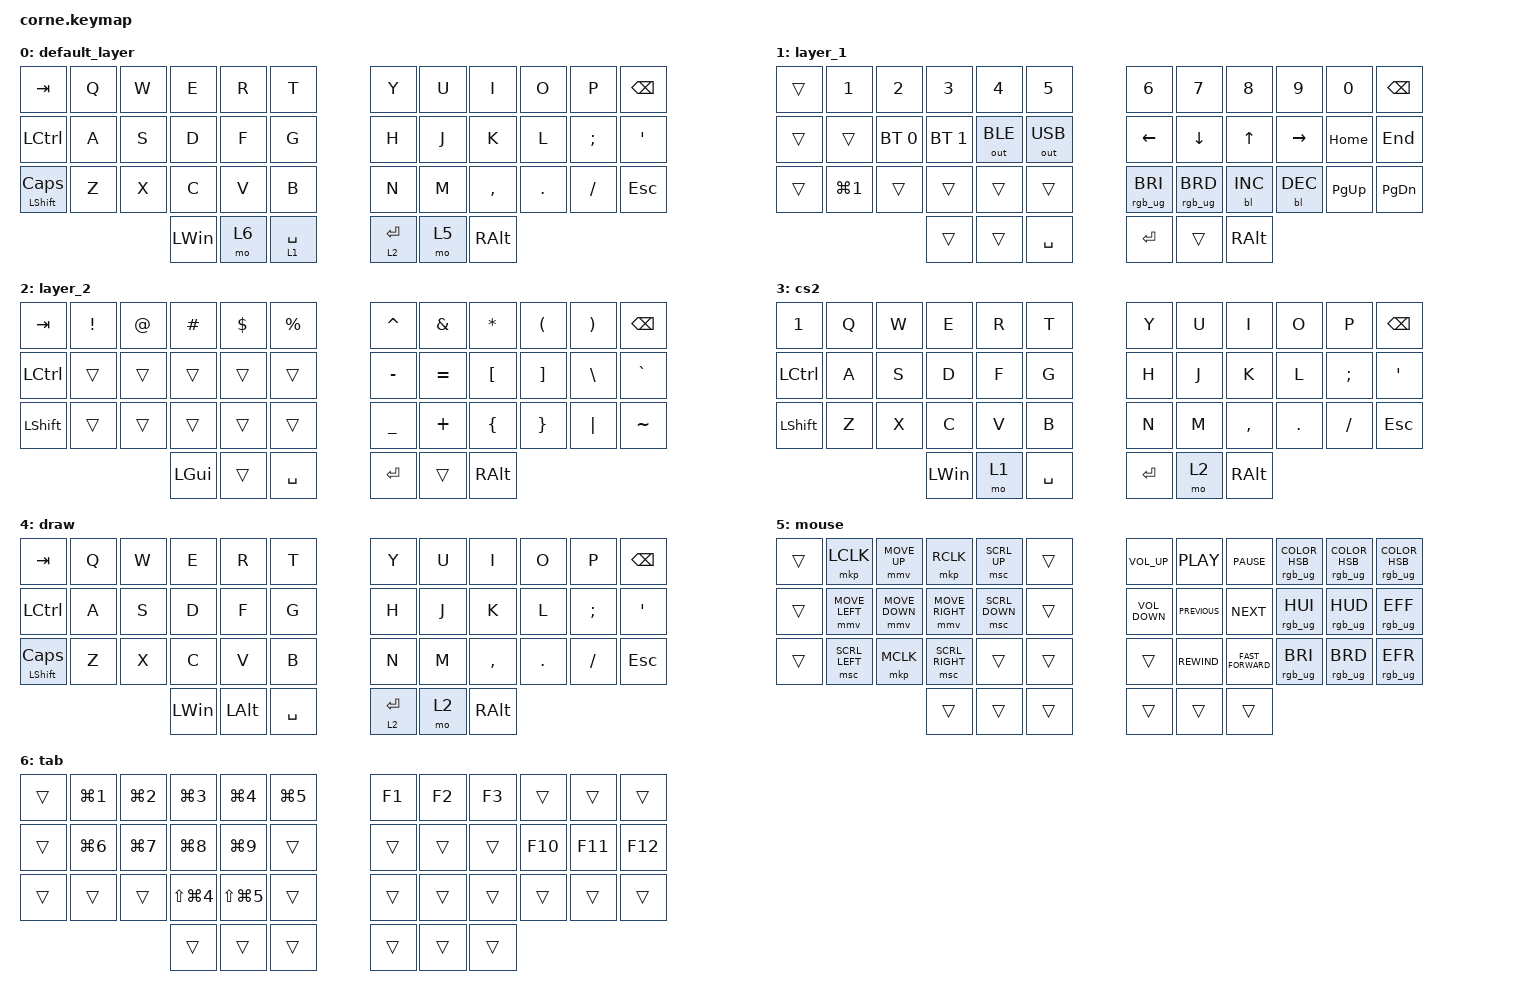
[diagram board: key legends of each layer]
/*
 * Copyright (c) 2020 The ZMK Contributors
 *
 * SPDX-License-Identifier: MIT
 */

#define ZMK_POINTING_DEFAULT_MOVE_VAL 1500  // default: 600
#define ZMK_POINTING_DEFAULT_SCRL_VAL 20    // default: 10

#include <behaviors.dtsi>
#include <dt-bindings/zmk/backlight.h>
#include <dt-bindings/zmk/bt.h>
#include <dt-bindings/zmk/ext_power.h>
#include <dt-bindings/zmk/keys.h>
#include <dt-bindings/zmk/outputs.h>
#include <dt-bindings/zmk/pointing.h>
#include <dt-bindings/zmk/rgb.h>

&led_strip {
    // chain-length = <0>;

    chain-length = <27>;

    // 21 backlight + 6 glowlight
};

&mmv {
    x-input-code = <INPUT_REL_X>;
    y-input-code = <INPUT_REL_Y>;
    time-to-max-speed-ms = <300>;
    acceleration-exponent = <1>;
};

/ {
    chosen { zmk,underglow = &led_strip; };
};

/ {
    combos {
        compatible = "zmk,combos";

        cs_layer {
            bindings = <&bt BT_CLR_ALL>;
            key-positions = <16 19>;
        };

        ekternal {
            bindings = <&ext_power EP_ON>;
            key-positions = <0 1>;
        };

        delete_blt {
            bindings = <&bt BT_CLR_ALL>;
            key-positions = <11 23 35>;
        };

        blt_4 {
            bindings = <&bt BT_SEL 4>;
            key-positions = <10 11>;
        };

        ble {
            bindings = <&out OUT_BLE>;
            key-positions = <6 7>;
        };

        usb {
            bindings = <&out OUT_USB>;
            key-positions = <18 19>;
        };

        Undo {
            bindings = <&kp LC(Z)>;
            key-positions = <25 26>;
        };

        cut {
            bindings = <&kp LC(X)>;
            key-positions = <26 27>;
        };

        copy {
            bindings = <&kp LC(C)>;
            key-positions = <27 28>;
        };

        paste {
            bindings = <&kp LC(V)>;
            key-positions = <28 29>;
        };

        toggle-l {
            bindings = <&tog 1>;
            key-positions = <11 9>;
        };

        layer-draw {
            bindings = <&tog 4>;
            key-positions = <0 2>;
        };

        layer-mouse {
            bindings = <&tog 5>;
            key-positions = <12 14>;
        };
    };

    keymap {
        compatible = "zmk,keymap";

        default_layer {
            // -----------------------------------------------------------------------------------------
            // |  TAB |  Q  |  W  |  E  |  R  |  T  |   |  Y  |  U   |  I  |  O  |  P  | BSPC |
            // | CTRL |  A  |  S  |  D  |  F  |  G  |   |  H  |  J   |  K  |  L  |  ;  |  '   |
            // | SHFT |  Z  |  X  |  C  |  V  |  B  |   |  N  |  M   |  ,  |  .  |  /  | ESC  |
            //                    | GUI | LWR | SPC |   | ENT | RSE  | ALT |

            bindings = <
&kp TAB              &kp Q  &kp W  &kp E     &kp R  &kp T          &kp Y        &kp U  &kp I      &kp O    &kp P     &kp BSPC
&kp LCTRL            &kp A  &kp S  &kp D     &kp F  &kp G          &kp H        &kp J  &kp K      &kp L    &kp SEMI  &kp SQT
&mt LSHIFT CAPSLOCK  &kp Z  &kp X  &kp C     &kp V  &kp B          &kp N        &kp M  &kp COMMA  &kp DOT  &kp FSLH  &kp ESC
                                   &kp LWIN  &mo 6  &lt 1 SPACE    &lt 2 ENTER  &mo 5  &kp RALT
            >;
        };

        layer_1 {
            // -----------------------------------------------------------------------------------------
            // |  TAB |  1  |  2  |  3  |  4  |  5  |   |  6  |  7  |  8  |  9  |  0  | BSPC |
            // | BTCLR| BT1 | BT2 | BT3 | BT4 | BT5 |   | LFT | DWN |  UP | RGT |     |      |
            // | SHFT |     |     |     |     |     |   |     |     |     |     |     |      |
            //                    | GUI |     | SPC |   | ENT |     | ALT |

            bindings = <
&trans  &kp N1      &kp NUMBER_2  &kp N3        &kp N4        &kp N5          &kp N6           &kp N7           &kp N8      &kp N9      &kp N0       &kp BSPC
&trans  &trans      &bt BT_SEL 0  &bt BT_SEL 1  &out OUT_BLE  &out OUT_USB    &kp LEFT         &kp DOWN         &kp UP      &kp RIGHT   &kp HOME     &kp END
&trans  &kp LG(N1)  &trans        &trans        &trans        &trans          &rgb_ug RGB_BRI  &rgb_ug RGB_BRD  &bl BL_INC  &bl BL_DEC  &kp PAGE_UP  &kp PAGE_DOWN
                                  &trans        &trans        &kp SPACE       &kp RET          &trans           &kp RALT
            >;
        };

        layer_2 {
            // -----------------------------------------------------------------------------------------
            // |  TAB |  !  |  @  |  #  |  $  |  %  |   |  ^  |  &  |  *  |  (  |  )  | BSPC |
            // | CTRL |     |     |     |     |     |   |  -  |  =  |  [  |  ]  |  \  |  `   |
            // | SHFT |     |     |     |     |     |   |  _  |  +  |  {  |  }  | "|" |  ~   |
            //                    | GUI |     | SPC |   | ENT |     | ALT |

            bindings = <
&kp TAB    &kp EXCL  &kp AT  &kp HASH  &kp DLLR  &kp PRCNT    &kp CARET  &kp AMPS   &kp ASTRK  &kp LPAR  &kp RPAR  &kp BSPC
&kp LCTRL  &trans    &trans  &trans    &trans    &trans       &kp MINUS  &kp EQUAL  &kp LBKT   &kp RBKT  &kp BSLH  &kp GRAVE
&kp LSHFT  &trans    &trans  &trans    &trans    &trans       &kp UNDER  &kp PLUS   &kp LBRC   &kp RBRC  &kp PIPE  &kp TILDE
                             &kp LGUI  &trans    &kp SPACE    &kp RET    &trans     &kp RALT
            >;
        };

        cs2 {
            bindings = <
&kp NUMBER_1  &kp Q  &kp W  &kp E     &kp R  &kp T        &kp Y    &kp U  &kp I      &kp O    &kp P     &kp BSPC
&kp LCTRL     &kp A  &kp S  &kp D     &kp F  &kp G        &kp H    &kp J  &kp K      &kp L    &kp SEMI  &kp SQT
&kp LSHFT     &kp Z  &kp X  &kp C     &kp V  &kp B        &kp N    &kp M  &kp COMMA  &kp DOT  &kp FSLH  &kp ESC
                            &kp LWIN  &mo 1  &kp SPACE    &kp RET  &mo 2  &kp RALT
            >;
        };

        draw {
            bindings = <
&kp TAB              &kp Q  &kp W  &kp E     &kp R         &kp T        &kp Y        &kp U  &kp I      &kp O    &kp P     &kp BSPC
&kp LCTRL            &kp A  &kp S  &kp D     &kp F         &kp G        &kp H        &kp J  &kp K      &kp L    &kp SEMI  &kp SQT
&mt LSHIFT CAPSLOCK  &kp Z  &kp X  &kp C     &kp V         &kp B        &kp N        &kp M  &kp COMMA  &kp DOT  &kp FSLH  &kp ESC
                                   &kp LWIN  &kp LEFT_ALT  &kp SPACE    &lt 2 ENTER  &mo 2  &kp RALT
            >;
        };

        mouse {
            bindings = <
&trans  &mkp LCLK       &mmv MOVE_UP    &mkp RCLK        &msc SCRL_UP    &trans    &kp C_VOLUME_UP    &kp C_PLAY      &kp C_PAUSE         &rgb_ug RGB_COLOR_HSB(0,100,50)  &rgb_ug RGB_COLOR_HSB(181,100,51)  &rgb_ug RGB_COLOR_HSB(136,100,50)
&trans  &mmv MOVE_LEFT  &mmv MOVE_DOWN  &mmv MOVE_RIGHT  &msc SCRL_DOWN  &trans    &kp C_VOLUME_DOWN  &kp C_PREVIOUS  &kp C_NEXT          &rgb_ug RGB_HUI                  &rgb_ug RGB_HUD                    &rgb_ug RGB_EFF
&trans  &msc SCRL_LEFT  &mkp MCLK       &msc SCRL_RIGHT  &trans          &trans    &trans             &kp C_REWIND    &kp C_FAST_FORWARD  &rgb_ug RGB_BRI                  &rgb_ug RGB_BRD                    &rgb_ug RGB_EFR
                                        &trans           &trans          &trans    &trans             &trans          &trans
            >;
        };

        tab {
            bindings = <
&trans  &kp LG(NUMBER_1)  &kp LG(NUMBER_2)  &kp LG(NUMBER_3)      &kp LG(NUMBER_4)      &kp LG(N5)    &kp F1  &kp F2  &kp F3  &trans   &trans   &trans
&trans  &kp LG(N6)        &kp LG(N7)        &kp LG(N8)            &kp LG(N9)            &trans        &trans  &trans  &trans  &kp F10  &kp F11  &kp F12
&trans  &trans            &trans            &kp LS(LG(NUMBER_4))  &kp LS(LG(NUMBER_5))  &trans        &trans  &trans  &trans  &trans   &trans   &trans
                                            &trans                &trans                &trans        &trans  &trans  &trans
            >;
        };
    };
};
